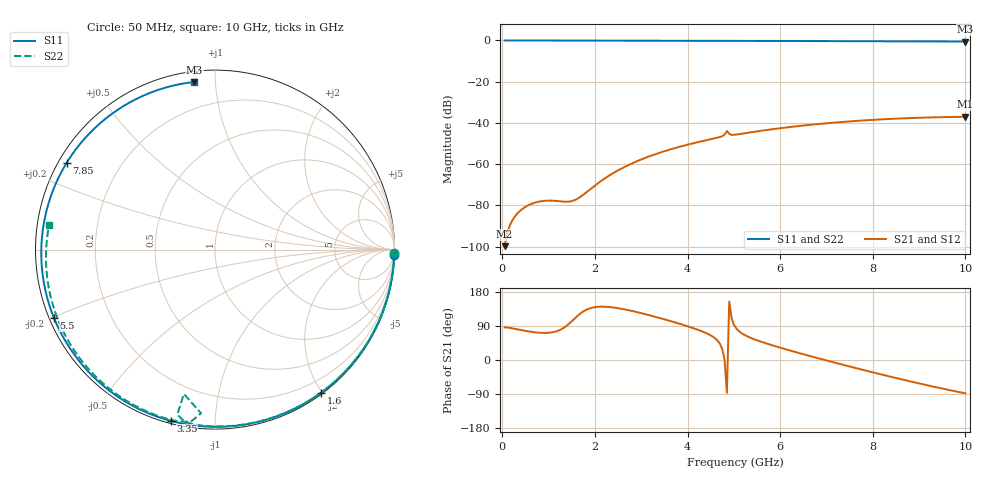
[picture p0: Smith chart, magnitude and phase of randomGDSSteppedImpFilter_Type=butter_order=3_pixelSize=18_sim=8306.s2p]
! freq	dB(S11)	phase(S11)	dB(S12)	phase(S12)
!  dB(S21)	phase(S21)	dB(S22)	phase(S22)
!S-par simulation data
#  GHz  S  DB  R 50
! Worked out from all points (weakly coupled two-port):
!   200 points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, 50 MHz to 10 GHz, reference 50 ohm
!   highest |S21| = -37.02 dB at 10 GHz (marker M1); lowest = -99.8 dB at 50 MHz (marker M2)
!   lowest |S11| = -0.5 dB at 10 GHz (marker M3), VSWR 32.93, Z = 2.7 + j44.1 ohm
!   |S11| at or under -10 dB: nowhere
!   |S22| runs from -1.7 to 0.0 dB; largest |S21 - S12| = 0
!   S11 on the Smith chart (normalised r, x): 50 MHz: 2, -69; 1.6 GHz: 0.02, -1.98; 3.35 GHz: 0.01, -0.77; 5.5 GHz: 0.01, -0.20; 7.85 GHz: 0.02, +0.27; 10 GHz: 0.05, +0.88
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0.05  -0.01 -1.7  -99.76 86.2  -99.76 86.2  -0.00 -1.1
0.55  -0.03 -18.9  -80.07 75.8  -80.07 75.8  -0.02 -12.2
0.75  -0.03 -25.6  -78.37 72.5  -78.37 72.5  -0.02 -16.6
1  -0.04 -34.0  -77.66 71.9  -77.66 71.9  -0.03 -22.1
1.4  -0.06 -47.1  -78.21 91.4  -78.21 91.4  -0.04 -30.8
1.6  -0.07 -53.5  -77.04 113.9  -77.04 113.9  -0.04 -35.1
1.75  -0.07 -58.2  -74.80 128.2  -74.80 128.2  -0.05 -38.3
2.15  -0.09 -70.5  -67.86 140.8  -67.86 140.8  -0.06 -46.7
2.5  -0.10 -80.8  -62.99 136.7  -62.99 136.7  -0.07 -54.0
3.35  -0.13 -104.5  -54.82 112.5  -54.82 112.5  -0.09 -71.1
3.4  -0.13 -105.8  -54.44 110.8  -54.44 110.8  -0.10 -72.1
4.65  -0.18 -137.2  -47.14 51.0  -47.14 51.0  -0.17 -97.2
4.8  -0.19 -140.8  -45.66 -0.1  -45.66 -0.1  -0.51 -102.9
4.85  -0.19 -142.0  -43.92 -86.8  -43.92 -86.8  -1.69 -102.2
4.9  -0.19 -143.1  -45.21 154.2  -45.21 154.2  -0.77 -94.9
5.05  -0.20 -146.6  -45.65 83.6  -45.65 83.6  -0.20 -101.0
5.5  -0.22 -157.0  -44.09 52.0  -44.09 52.0  -0.18 -110.3
6.7  -0.30 175.8  -40.80 8.6  -40.80 8.6  -0.25 -131.3
7.85  -0.38 149.6  -38.71 -28.0  -38.71 -28.0  -0.35 -150.8
8.35  -0.41 137.9  -38.08 -43.1  -38.08 -43.1  -0.40 -159.3
9.2  -0.48 117.3  -37.35 -67.3  -37.35 -67.3  -0.49 -174.0
10  -0.53 97.0  -37.02 -88.0  -37.02 -88.0  -0.59 171.6
